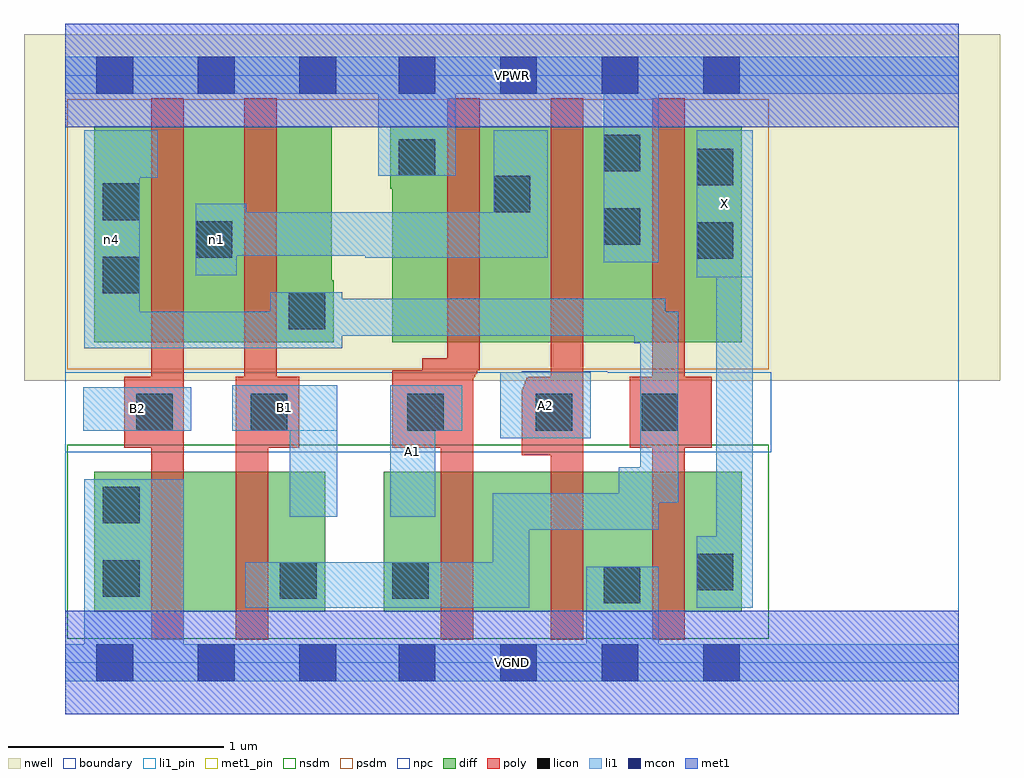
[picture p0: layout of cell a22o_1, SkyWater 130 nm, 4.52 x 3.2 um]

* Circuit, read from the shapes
.subckt a22o_1 A1 A2 B1 B2 VGND VPWR X n1 n4
XM1 n2 B2 VGND VSUBS sky130_fd_pr__nfet_01v8 w=0.65 l=0.15
XM2 n4 B1 n2 VSUBS sky130_fd_pr__nfet_01v8 w=0.65 l=0.15
XM3 n3 A1 n4 VSUBS sky130_fd_pr__nfet_01v8 w=0.65 l=0.15
XM4 VGND A2 n3 VSUBS sky130_fd_pr__nfet_01v8 w=0.65 l=0.15
XM5 X n4 VGND VSUBS sky130_fd_pr__nfet_01v8 w=0.65 l=0.15
XM6 n1 B2 n4 n5 sky130_fd_pr__pfet_01v8 w=1 l=0.15
XM7 n4 B1 n1 n5 sky130_fd_pr__pfet_01v8 w=1 l=0.15
XM8 n1 A1 VPWR n5 sky130_fd_pr__pfet_01v8 w=1 l=0.15
XM9 VPWR A2 n1 n5 sky130_fd_pr__pfet_01v8 w=1 l=0.15
XM10 X n4 VPWR n5 sky130_fd_pr__pfet_01v8 w=1 l=0.15
.ends

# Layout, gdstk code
import gdstk
lib = gdstk.Library(unit=1e-6, precision=1e-09)
def R(c, l, rs):  # rectangles x0, y0, x1, y1
    for r in rs: c.add(gdstk.rectangle(r[:2], r[2:], *l))
def A(c, l, x, y, w, h, nx, ny, dx, dy):  # array of equal rectangles
    R(c, l, [(x+i*dx, y+j*dy, x+i*dx+w, y+j*dy+h) for i in range(nx) for j in range(ny)])
nwell = (64, 20)
diff = (65, 20)
poly = (66, 20)
licon = (66, 44)
li1_pin = (67, 16)
li1 = (67, 20)
mcon = (67, 44)
met1_pin = (68, 16)
met1 = (68, 20)
nsdm = (93, 44)
psdm = (94, 20)
npc = (95, 20)
boundary = (235, 4)

a22o_1 = lib.new_cell('a22o_1')
R(a22o_1, nwell, [(-0.19,1.305,4.33,2.91), (0,1.305,4.14,2.91)])
R(a22o_1, diff, [(0.135,0.235,1.205,0.885), (1.475,0.235,3.135,0.885), (0.135,1.485,1.235,2.485), (0.135,1.485,1.245,1.77), (1.515,1.485,3.135,2.485), (1.505,2.195,3.135,2.485)])
R(a22o_1, poly, [(0.4,0.105,0.55,2.615), (0.79,0.105,0.94,1.325), (1.74,0.105,1.89,1.41), (2.25,0.105,2.4,2.615), (2.72,0.105,2.87,2.615), (2.115,0.96,2.4,1.265), (2.12,0.96,2.4,1.275), (2.125,0.96,2.4,1.29), (2.13,0.96,2.4,1.305), (2.135,0.96,2.4,1.32), (2.145,0.96,2.4,1.325), (0.275,0.995,0.55,1.325), (0.79,0.995,1.085,1.325), (0.83,0.995,0.98,2.615), (1.515,0.995,1.89,1.355), (2.615,0.995,2.995,1.325), (1.515,1.32,1.895,1.355), (1.515,1.325,1.9,1.355), (1.515,1.335,1.905,1.355), (1.515,1.34,1.91,1.355), (1.655,1.355,1.92,1.41), (1.77,1.355,1.92,2.615)])
R(a22o_1, licon, [(2.495,0.275,2.665,0.445), (0.995,0.295,1.165,0.465), (1.515,0.295,1.685,0.465), (0.175,0.305,0.345,0.475), (2.925,0.335,3.095,0.505), (0.175,0.645,0.345,0.815), (0.33,1.075,0.5,1.245), (0.86,1.075,1.03,1.245), (1.585,1.075,1.755,1.245), (2.18,1.075,2.35,1.245), (2.67,1.075,2.84,1.245), (1.035,1.545,1.205,1.715), (0.175,1.71,0.345,1.88), (2.925,1.87,3.095,2.04), (0.605,1.875,0.775,2.045), (2.495,1.935,2.665,2.105), (0.175,2.05,0.345,2.22), (1.985,2.085,2.155,2.255), (2.925,2.21,3.095,2.38), (1.545,2.255,1.715,2.425), (2.495,2.275,2.665,2.445)])
R(a22o_1, li1_pin, [(1.505,0.675,1.715,1.285), (2.015,1.04,2.435,1.345), (0.085,1.075,0.585,1.275), (0.775,1.075,1.26,1.285), (2.925,1.785,3.185,2.465)])
R(a22o_1, li1, [(0,-0.085,4.14,0.085), (0.09,-0.085,0.55,0.85), (2.415,-0.085,2.75,0.445), (0.835,0.255,2.15,0.465), (1.98,0.255,2.15,0.785), (2.925,0.255,3.185,0.585), (3.015,0.255,3.185,2.465), (1.98,0.615,2.75,0.785), (2.565,0.615,2.75,0.905), (1.04,0.675,1.26,1.285), (1.505,0.675,1.715,1.285), (2.665,0.74,2.84,1.625), (2.015,1.04,2.435,1.345), (0.085,1.075,0.585,1.275), (0.775,1.075,1.26,1.285), (1.505,1.075,1.84,1.285), (0.09,1.455,0.345,2.465), (0.09,1.455,1.285,1.625), (0.95,1.455,1.285,1.715), (2.635,1.48,2.78,1.685), (0.95,1.515,2.78,1.685), (2.925,1.785,3.185,2.465), (0.605,1.795,0.795,2.125), (2.495,1.855,2.75,2.805), (1.39,1.875,2.235,2.085), (1.985,1.875,2.235,2.465), (0.605,1.885,2.235,2.085), (0.605,1.885,0.84,2.125), (0.09,2.245,0.43,2.465), (1.45,2.255,1.81,2.805), (0,2.635,4.14,2.805)])
A(a22o_1, mcon, 0.145, -0.085, 0.17, 0.17, 3, 2, 0.47, 2.72)
A(a22o_1, mcon, 1.545, -0.085, 0.17, 0.17, 4, 2, 0.47, 2.72)
R(a22o_1, met1_pin, [(0,-0.24,4.14,0.24), (0,2.48,4.14,2.96)])
R(a22o_1, met1, [(0,-0.24,4.14,0.24), (0,2.48,4.14,2.96)])
R(a22o_1, nsdm, [(0.01,0.11,3.26,1.01)])
R(a22o_1, psdm, [(0.01,1.36,3.26,2.61)])
R(a22o_1, npc, [(0,0.975,3.27,1.345), (2.115,0.975,2.51,1.35)])
R(a22o_1, boundary, [(0,0,4.14,2.72)])
a22o_1.add(gdstk.Label('A1', (1.61,0.98), layer=67, texttype=5))
a22o_1.add(gdstk.Label('A2', (2.225,1.192), layer=67, texttype=5))
a22o_1.add(gdstk.Label('B1', (1.017,1.18), layer=67, texttype=5))
a22o_1.add(gdstk.Label('B2', (0.335,1.175), layer=67, texttype=5))
a22o_1.add(gdstk.Label('X', (3.055,2.125), layer=67, texttype=5))
a22o_1.add(gdstk.Label('n4', (0.217,1.96), layer=67, texttype=5))
a22o_1.add(gdstk.Label('n1', (0.7,1.96), layer=67, texttype=5))
a22o_1.add(gdstk.Label('VPWR', (2.07,2.72), layer=68, texttype=5))
a22o_1.add(gdstk.Label('VGND', (2.07,0), layer=68, texttype=5))
a22o_1.add(gdstk.Label('A1', (1.61,0.98), layer=67, texttype=16))
a22o_1.add(gdstk.Label('A2', (2.225,1.192), layer=67, texttype=16))
a22o_1.add(gdstk.Label('B1', (1.017,1.18), layer=67, texttype=16))
a22o_1.add(gdstk.Label('B2', (0.335,1.175), layer=67, texttype=16))
a22o_1.add(gdstk.Label('X', (3.055,2.125), layer=67, texttype=16))
a22o_1.add(gdstk.Label('VPWR', (2.07,2.72), layer=68, texttype=16))
a22o_1.add(gdstk.Label('VGND', (2.07,0), layer=68, texttype=16))

lib.write_gds('a22o_1.gds')
